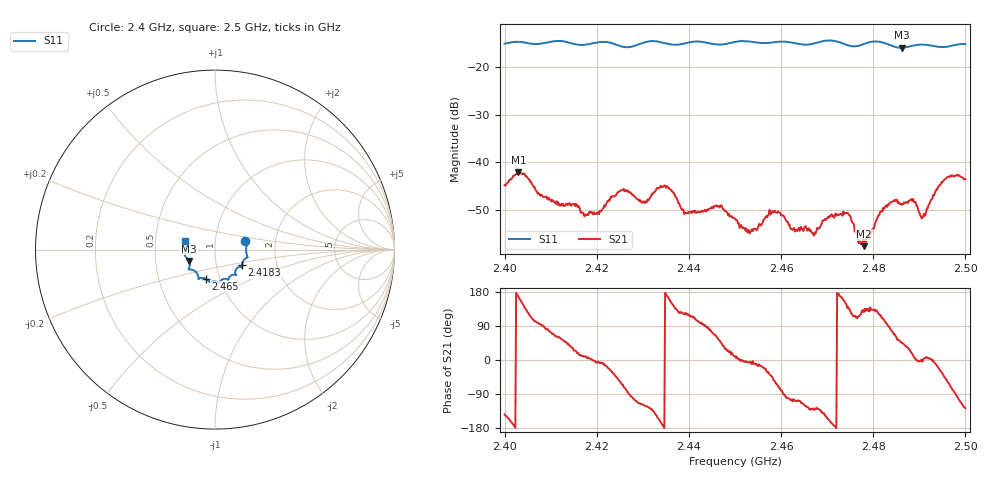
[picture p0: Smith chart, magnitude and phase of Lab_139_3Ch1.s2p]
# Hz S RI R 50
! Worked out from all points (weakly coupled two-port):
!   601 points, 2.4 GHz to 2.5 GHz, reference 50 ohm
!   highest |S21| = -42.11 dB at 2.403 GHz (marker M1); lowest = -57.6 dB at 2.478 GHz (marker M2)
!   lowest |S11| = -16.0 dB at 2.4862 GHz (marker M3), VSWR 1.38, Z = 37.1 - j4.82 ohm
!   |S11| at or under -10 dB: start of sweep to end of sweep
!   S12 and S22 are empty: the file has one direction only
!   S11 on the Smith chart (normalised r, x): 2.4 GHz: 1.40, +0.13; 2.4183 GHz: 1.33, -0.24; 2.465 GHz: 0.86, -0.29; 2.5 GHz: 0.71, +0.07
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2.4e9  0.1688 0.0457  -0.00464 -0.0034  0 0  0 0
2.403e9  0.1798 0.0326  -0.00763 0.00179  0 0  0 0
2.416667e9  0.1548 -0.0684  0.00292 0.000565  0 0  0 0
2.418333e9  0.1497 -0.0868  0.00301 0.000226  0 0  0 0
2.425333e9  0.131 -0.0974  0.00236 -0.00451  0 0  0 0
2.430333e9  0.1148 -0.1388  -0.00191 -0.00323  0 0  0 0
2.433333e9  0.1166 -0.1413  -0.00478 -0.00235  0 0  0 0
2.439333e9  0.0768 -0.1592  -0.00148 0.00255  0 0  0 0
2.446667e9  0.0467 -0.1642  0.00207 0.00264  0 0  0 0
2.45e9  0.025 -0.1807  0.00253 0.000442  0 0  0 0
2.453333e9  0.0171 -0.1824  0.00186 -0.000148  0 0  0 0
2.459167e9  -0.0247 -0.181  0.00121 -0.0027  0 0  0 0
2.465e9  -0.0528 -0.162  -0.000968 -0.00181  0 0  0 0
2.466667e9  -0.0714 -0.1575  -0.00115 -0.00142  0 0  0 0
2.474e9  -0.0956 -0.1419  -0.00252 0.00151  0 0  0 0
2.478e9  -0.133 -0.1112  -0.000789 0.00106  0 0  0 0
2.483333e9  -0.142 -0.0957  0.000104 0.00359  0 0  0 0
2.486167e9  -0.1447 -0.0634  0.00247 0.00259  0 0  0 0
2.488667e9  -0.1611 -0.0424  0.00404 0.000846  0 0  0 0
2.490833e9  -0.1674 -0.0338  0.00271 8.98e-05  0 0  0 0
2.495667e9  -0.1609 0.0128  0.00444 -0.00501  0 0  0 0
2.5e9  -0.1667 0.047  -0.00402 -0.0053  0 0  0 0
